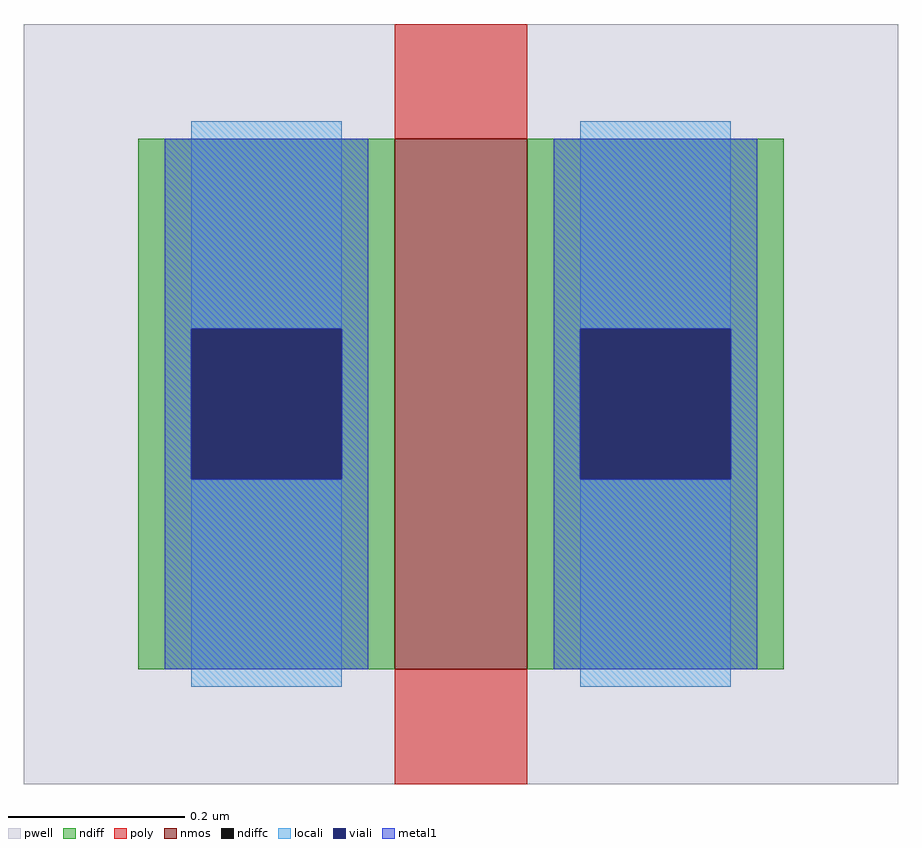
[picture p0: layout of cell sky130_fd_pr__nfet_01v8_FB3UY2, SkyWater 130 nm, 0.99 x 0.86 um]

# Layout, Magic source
magic
tech sky130A
magscale 1 2
<< pwell >>
rect -99 -86 99 86
<< nmos >>
rect -15 -60 15 60
<< ndiff >>
rect -73 17 -15 60
rect -73 -17 -61 17
rect -27 -17 -15 17
rect -73 -60 -15 -17
rect 15 17 73 60
rect 15 -17 27 17
rect 61 -17 73 17
rect 15 -60 73 -17
<< ndiffc >>
rect -61 -17 -27 17
rect 27 -17 61 17
<< poly >>
rect -15 60 15 86
rect -15 -86 15 -60
<< locali >>
rect -61 17 -27 64
rect -61 -64 -27 -17
rect 27 17 61 64
rect 27 -64 61 -17
<< viali >>
rect -61 -17 -27 17
rect 27 -17 61 17
<< metal1 >>
rect -67 17 -21 60
rect -67 -17 -61 17
rect -27 -17 -21 17
rect -67 -60 -21 -17
rect 21 17 67 60
rect 21 -17 27 17
rect 61 -17 67 17
rect 21 -60 67 -17
<< end >>
